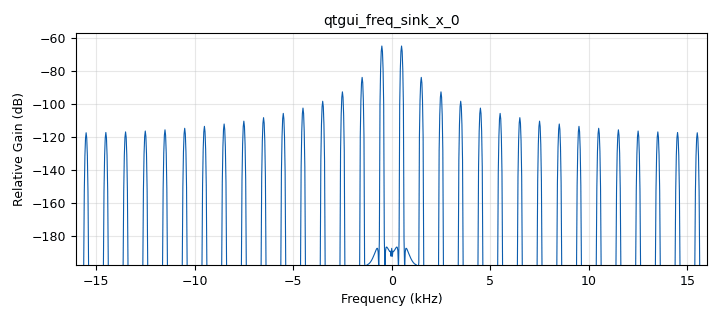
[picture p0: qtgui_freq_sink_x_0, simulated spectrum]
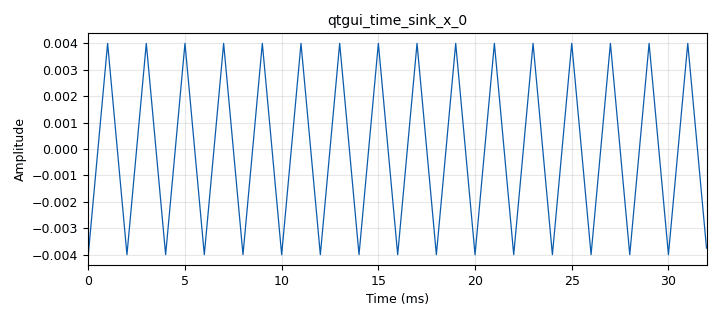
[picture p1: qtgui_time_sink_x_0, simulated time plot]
options:
  parameters:
    generate_options: qt_gui
    id: untitled
    output_language: python
    title: Not titled yet
  states: {}

blocks:
- name: samp_rate
  id: variable
  parameters:
    value: '32000'
  states: {}
- name: analog_sig_source_x_0
  id: analog_sig_source_x
  parameters:
    amp: '0.008'
    freq: '500'
    offset: '0'
    phase: '3.14'
    samp_rate: samp_rate
    type: float
    waveform: analog.GR_TRI_WAVE
  states: {}
- name: analog_sig_source_x_1
  id: analog_sig_source_x
  parameters:
    amp: '0.004'
    freq: '500'
    offset: '0'
    phase: '3.14159265358979323846264338327950288419716939937510'
    samp_rate: samp_rate
    type: float
    waveform: analog.GR_SQR_WAVE
  states: {}
- name: analog_sig_source_x_2
  id: analog_sig_source_x
  parameters:
    amp: '0.004'
    freq: '500'
    offset: '0'
    phase: '0'
    samp_rate: samp_rate
    type: float
    waveform: analog.GR_SQR_WAVE
  states: {}
- name: blocks_add_xx_0
  id: blocks_add_xx
  parameters:
    type: float
  states: {}
- name: blocks_sub_xx_0
  id: blocks_sub_xx
  parameters:
    type: float
  states: {}
- name: blocks_throttle2_0
  id: blocks_throttle2
  parameters:
    samples_per_second: samp_rate
    type: float
  states: {}
- name: qtgui_freq_sink_x_0
  id: qtgui_freq_sink_x
  parameters:
    autoscale: 'True'
    bw: samp_rate
    fc: '0'
    fftsize: '1024'
    type: float
  states: {}
- name: qtgui_time_sink_x_0
  id: qtgui_time_sink_x
  parameters:
    autoscale: 'True'
    size: '1024'
    srate: samp_rate
    type: float
  states: {}

connections:
- [analog_sig_source_x_0, '0', blocks_sub_xx_0, '0']
- [analog_sig_source_x_1, '0', blocks_add_xx_0, '1']
- [analog_sig_source_x_2, '0', blocks_add_xx_0, '0']
- [blocks_add_xx_0, '0', blocks_sub_xx_0, '1']
- [blocks_sub_xx_0, '0', blocks_throttle2_0, '0']
- [blocks_throttle2_0, '0', qtgui_freq_sink_x_0, '0']
- [blocks_throttle2_0, '0', qtgui_time_sink_x_0, '0']

metadata:
  file_format: 1
  grc_version: 3.10.6.0
